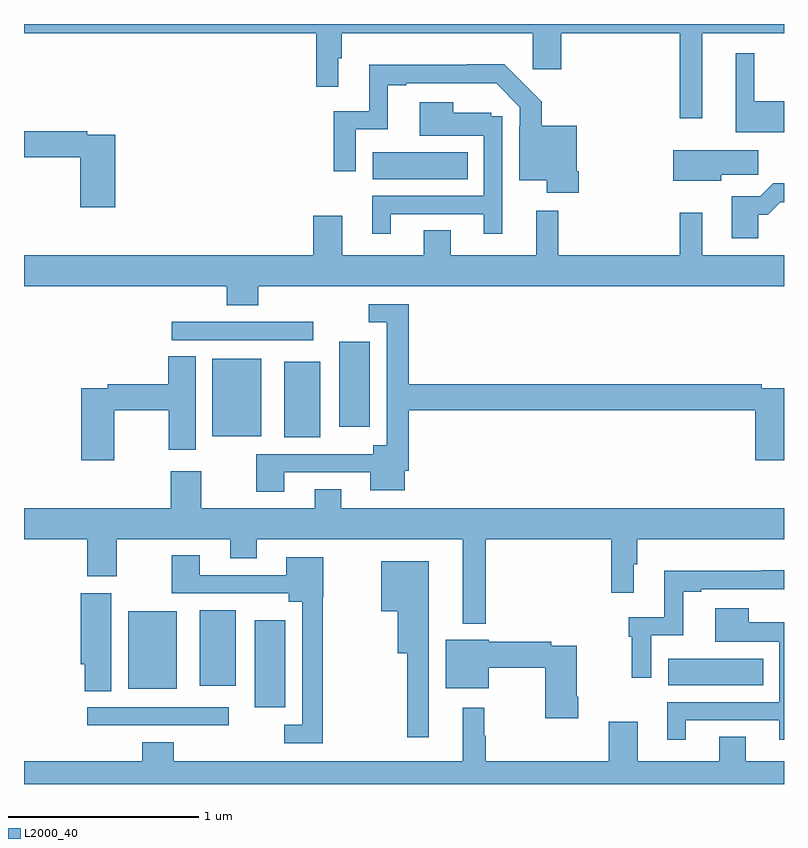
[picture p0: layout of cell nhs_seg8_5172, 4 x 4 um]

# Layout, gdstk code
import gdstk
lib = gdstk.Library(unit=1e-6, precision=1e-09)
def R(c, l, rs):  # rectangles x0, y0, x1, y1
    for r in rs: c.add(gdstk.rectangle(r[:2], r[2:], *l))
def P(c, l, *ps):  # polygons
    for p in ps: c.add(gdstk.Polygon(p, *l))
L2000_40 = (2000, 40)

nhs_seg8_5172 = lib.new_cell('nhs_seg8_5172')
R(nhs_seg8_5172, L2000_40, [(423.333,1094.208,424.078,1094.304), (424.214,1094.303,424.375,1094.761), (423.548,1094.402,423.805,1094.809), (423.926,1094.417,424.114,1094.815), (426.39,1094.42,426.89,1094.56), (424.37,1095.725,424.558,1096.123), (423.992,1095.731,424.249,1096.138), (424.658,1095.78,424.819,1096.228), (423.777,1096.236,424.522,1096.332), (424.836,1097.084,425.336,1097.224)])
P(nhs_seg8_5172, L2000_40, [(426.571,1097.852),(427,1097.852),(427,1097.9),(423,1097.9),(423,1097.852),(424.537,1097.852),(424.537,1097.571),(424.654,1097.571),(424.654,1097.72),(424.673,1097.72),(424.673,1097.852),(425.677,1097.852),(425.677,1097.661),(425.828,1097.661),(425.828,1097.852),(426.45,1097.852),(426.45,1097.403),(426.571,1097.403)],
  [(427,1097.494),(426.844,1097.494),(426.844,1097.746),(426.746,1097.746),(426.746,1097.33),(427,1097.33)],
  [(425.921,1097.125),(425.908,1097.125),(425.908,1097.365),(425.726,1097.365),(425.726,1097.491),(425.528,1097.689),(425.329,1097.689),(425.329,1097.686),(424.817,1097.686),(424.817,1097.442),(424.63,1097.442),(424.63,1097.124),(424.746,1097.124),(424.746,1097.346),(424.915,1097.346),(424.915,1097.577),(425.011,1097.577),(425.011,1097.589),(425.485,1097.589),(425.61,1097.463),(425.61,1097.363),(425.607,1097.363),(425.607,1097.078),(425.75,1097.078),(425.75,1097.013),(425.921,1097.013)],
  [(424.93,1096.899),(425.42,1096.899),(425.42,1096.797),(425.517,1096.797),(425.517,1097.415),(425.46,1097.415),(425.46,1097.434),(425.26,1097.434),(425.26,1097.488),(425.084,1097.488),(425.084,1097.312),(425.421,1097.312),(425.421,1096.995),(424.832,1096.995),(424.832,1096.797),(424.93,1096.797)],
  [(423.479,1097.316),(423.332,1097.316),(423.332,1097.336),(423,1097.336),(423,1097.2),(423.296,1097.2),(423.296,1096.935),(423.479,1096.935)],
  [(426.67,1097.107),(426.865,1097.107),(426.865,1097.236),(426.416,1097.236),(426.416,1097.075),(426.67,1097.075)],
  [(426.865,1096.895),(426.914,1096.895),(426.981,1096.962),(427,1096.962),(427,1097.063),(426.944,1097.063),(426.874,1096.993),(426.725,1096.993),(426.725,1096.773),(426.865,1096.773)],
  [(424.232,1096.52),(427,1096.52),(427,1096.684),(426.571,1096.684),(426.571,1096.906),(426.45,1096.906),(426.45,1096.684),(425.813,1096.684),(425.813,1096.918),(425.696,1096.918),(425.696,1096.684),(425.245,1096.684),(425.245,1096.814),(425.105,1096.814),(425.105,1096.684),(424.675,1096.684),(424.675,1096.891),(424.523,1096.891),(424.523,1096.684),(423,1096.684),(423,1096.52),(424.067,1096.52),(424.067,1096.421),(424.232,1096.421)],
  [(424.369,1095.54),(424.823,1095.54),(424.823,1095.446),(425.005,1095.446),(425.005,1095.55),(425.024,1095.55),(425.024,1095.868),(426.848,1095.868),(426.848,1095.603),(427,1095.603),(427,1095.984),(426.884,1095.984),(426.884,1096.004),(425.024,1096.004),(425.024,1096.425),(424.815,1096.425),(424.815,1096.329),(424.908,1096.329),(424.908,1095.682),(424.838,1095.682),(424.838,1095.636),(424.222,1095.636),(424.222,1095.438),(424.369,1095.438)],
  [(423.474,1095.868),(423.763,1095.868),(423.763,1095.66),(423.904,1095.66),(423.904,1096.151),(423.758,1096.151),(423.758,1096.004),(423.442,1096.004),(423.442,1095.984),(423.301,1095.984),(423.301,1095.603),(423.474,1095.603)],
  [(425.431,1095.188),(426.091,1095.188),(426.091,1094.907),(426.208,1094.907),(426.208,1095.056),(426.227,1095.056),(426.227,1095.188),(427,1095.188),(427,1095.352),(424.669,1095.352),(424.669,1095.451),(424.529,1095.451),(424.529,1095.352),(423.933,1095.352),(423.933,1095.547),(423.773,1095.547),(423.773,1095.352),(423,1095.352),(423,1095.188),(423.334,1095.188),(423.334,1094.994),(423.489,1094.994),(423.489,1095.188),(424.085,1095.188),(424.085,1095.089),(424.225,1095.089),(424.225,1095.188),(425.309,1095.188),(425.309,1094.744),(425.431,1094.744)],
  [(424.573,1094.883),(424.576,1094.883),(424.576,1095.094),(424.379,1095.094),(424.379,1095),(423.925,1095),(423.925,1095.103),(423.778,1095.103),(423.778,1094.904),(424.394,1094.904),(424.394,1094.858),(424.464,1094.858),(424.464,1094.211),(424.371,1094.211),(424.371,1094.115),(424.573,1094.115)],
  [(425.131,1095.073),(424.88,1095.073),(424.88,1094.81),(424.966,1094.81),(424.966,1094.588),(425.017,1094.588),(425.017,1094.145),(425.131,1094.145)],
  [(426.3,1094.682),(426.469,1094.682),(426.469,1094.913),(426.565,1094.913),(426.565,1094.925),(427,1094.925),(427,1095.025),(426.883,1095.025),(426.883,1095.022),(426.371,1095.022),(426.371,1094.778),(426.184,1094.778),(426.184,1094.675),(426.199,1094.675),(426.199,1094.46),(426.3,1094.46)],
  [(423.46,1094.905),(423.298,1094.905),(423.298,1094.529),(423.319,1094.529),(423.319,1094.389),(423.46,1094.389)],
  [(426.484,1094.235),(426.974,1094.235),(426.974,1094.133),(427,1094.133),(427,1094.752),(426.814,1094.752),(426.814,1094.824),(426.638,1094.824),(426.638,1094.648),(426.975,1094.648),(426.975,1094.331),(426.386,1094.331),(426.386,1094.133),(426.484,1094.133)],
  [(425.916,1094.359),(425.908,1094.359),(425.908,1094.628),(425.774,1094.628),(425.774,1094.648),(425.446,1094.648),(425.446,1094.659),(425.219,1094.659),(425.219,1094.405),(425.446,1094.405),(425.446,1094.512),(425.743,1094.512),(425.743,1094.247),(425.916,1094.247)],
  [(427,1094.02),(426.799,1094.02),(426.799,1094.15),(426.659,1094.15),(426.659,1094.02),(426.229,1094.02),(426.229,1094.227),(426.077,1094.227),(426.077,1094.02),(425.431,1094.02),(425.431,1094.153),(425.423,1094.153),(425.423,1094.302),(425.309,1094.302),(425.309,1094.02),(423.788,1094.02),(423.788,1094.119),(423.623,1094.119),(423.623,1094.02),(423,1094.02),(423,1093.9),(427,1093.9)])

lib.write_gds('nhs_seg8_5172.gds')
